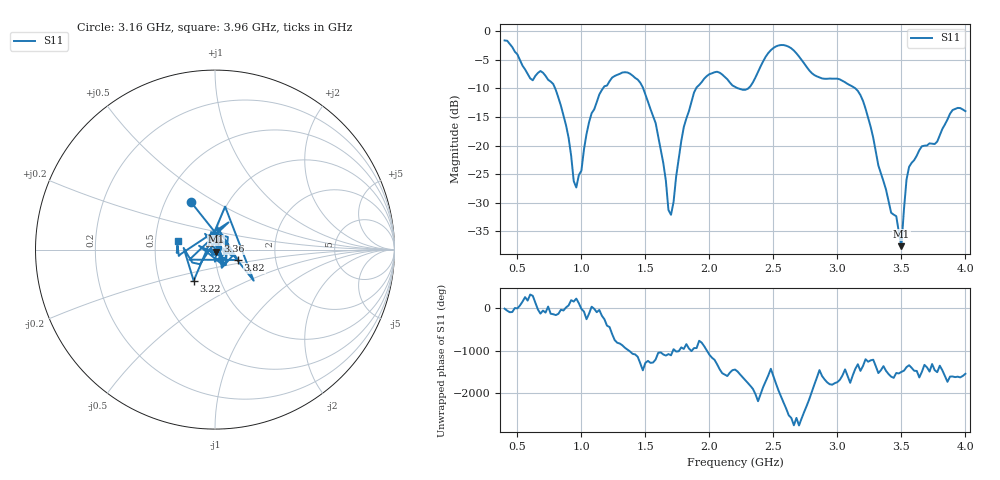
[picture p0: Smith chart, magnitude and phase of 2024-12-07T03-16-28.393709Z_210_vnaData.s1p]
!Created with skrf (http://scikit-rf.org).
# Hz S RI R 50.0
!freq ReS11 ImS11
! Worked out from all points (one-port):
!   181 points, 400 MHz to 4 GHz, reference 50 ohm
!   lowest |S11| = -37.6 dB at 3.5 GHz (marker M1), VSWR 1.03, Z = 50.6 - j1.19 ohm
!   |S11| at or under -10 dB: 794.9 MHz to 1.168 GHz (373.2 MHz wide, 38 % of centre); 1.483 GHz to 1.896 GHz (412.8 MHz wide, 24.4 % of centre); 3.141 GHz to end of sweep (the widest 3 of 4)
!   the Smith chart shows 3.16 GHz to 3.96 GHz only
!   S11 on the Smith chart (normalised r, x): 3.16 GHz: 0.67, +0.39; 3.22 GHz: 0.75, -0.27; 3.36 GHz: 1.03, +0.10; 3.82 GHz: 1.28, -0.15; 3.96 GHz: 0.65, +0.06
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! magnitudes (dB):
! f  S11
! 400 MHz  -1.6
! 600 MHz  -8.2
! 780 MHz  -9.2
! 860 MHz  -14.7
! 960 MHz  -27.3
! 1.08 GHz  -14.3
! 1.3 GHz  -7.4
! 1.48 GHz  -9.8
! 1.58 GHz  -16.1
! 1.7 GHz  -32.1
! 1.76 GHz  -22.3
! 1.9 GHz  -9.8
! 2.06 GHz  -7.1
! 2.2 GHz  -9.7
! 2.32 GHz  -9.6
! 2.52 GHz  -2.6
! 2.66 GHz  -3.4
! 2.82 GHz  -7.7
! 3.1 GHz  -9.4
! 3.16 GHz  -10.4
! 3.22 GHz  -13.5
! 3.36 GHz  -26.2
! 3.5 GHz  -37.6
! 3.54 GHz  -26.0
! 3.56 GHz  -23.7
! 3.82 GHz  -17.1
! 3.96 GHz  -13.4
! 4 GHz  -14.0
